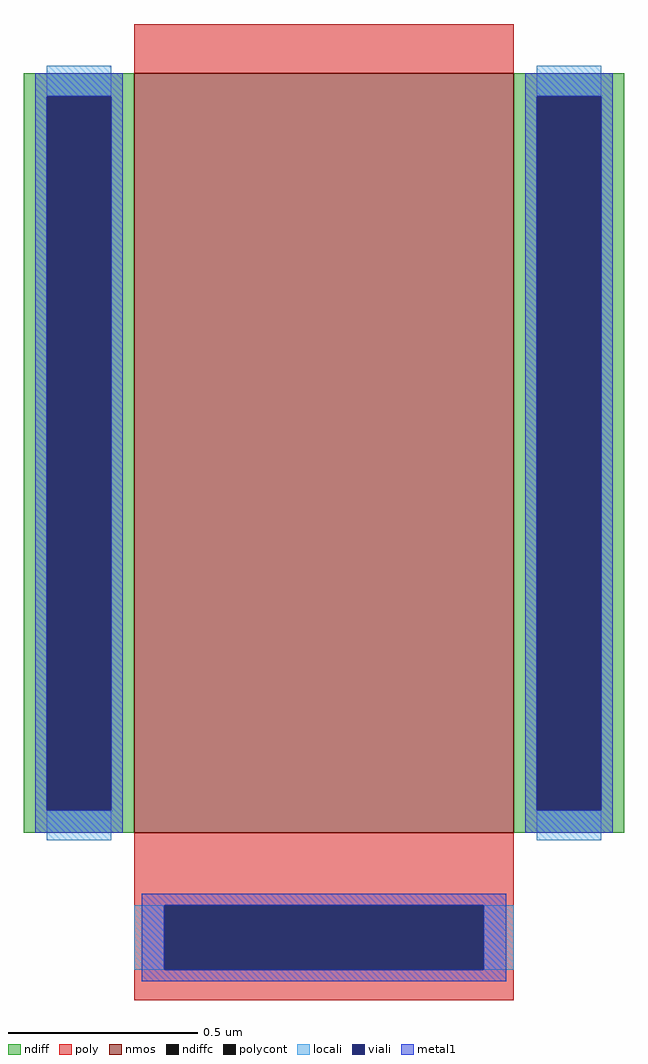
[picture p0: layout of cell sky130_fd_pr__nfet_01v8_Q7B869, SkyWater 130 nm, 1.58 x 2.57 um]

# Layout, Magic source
magic
tech sky130A
magscale 1 2
<< nmos >>
rect -100 -169 100 231
<< ndiff >>
rect -158 219 -100 231
rect -158 -157 -146 219
rect -112 -157 -100 219
rect -158 -169 -100 -157
rect 100 219 158 231
rect 100 -157 112 219
rect 146 -157 158 219
rect 100 -169 158 -157
<< ndiffc >>
rect -146 -157 -112 219
rect 112 -157 146 219
<< poly >>
rect -100 231 100 257
rect -100 -207 100 -169
rect -100 -241 -84 -207
rect 84 -241 100 -207
rect -100 -257 100 -241
<< polycont >>
rect -84 -241 84 -207
<< locali >>
rect -146 219 -112 235
rect -146 -173 -112 -157
rect 112 219 146 235
rect 112 -173 146 -157
rect -100 -241 -84 -207
rect 84 -241 100 -207
<< viali >>
rect -146 -157 -112 219
rect 112 -157 146 219
rect -84 -241 84 -207
<< metal1 >>
rect -152 219 -106 231
rect -152 -157 -146 219
rect -112 -157 -106 219
rect -152 -169 -106 -157
rect 106 219 152 231
rect 106 -157 112 219
rect 146 -157 152 219
rect 106 -169 152 -157
rect -96 -207 96 -201
rect -96 -241 -84 -207
rect 84 -241 96 -207
rect -96 -247 96 -241
<< properties >>
string gencell sky130_fd_pr__nfet_01v8
string library sky130
string parameters w 2 l 1 m 1 nf 1 diffcov 100 polycov 100 guard 0 glc 0 grc 0 gtc 0 gbc 0 tbcov 100 rlcov 100 topc 0 botc 1 poverlap 0 doverlap 0 lmin 0.15 wmin 0.42 compatible {sky130_fd_pr__nfet_01v8 sky130_fd_pr__nfet_01v8_lvt  sky130_fd_bs_flash__special_sonosfet_star  sky130_fd_pr__nfet_g5v0d10v5 sky130_fd_pr__nfet_05v0_nvt  sky130_fd_pr__nfet_03v3_nvt} full_metal 0 viasrc 100 viadrn 100 viagate 100 viagb 0 viagr 0 viagl 0 viagt 0
string sky130_fd_pr__nfet_01v8_Q7B869 parameters
<< end >>
